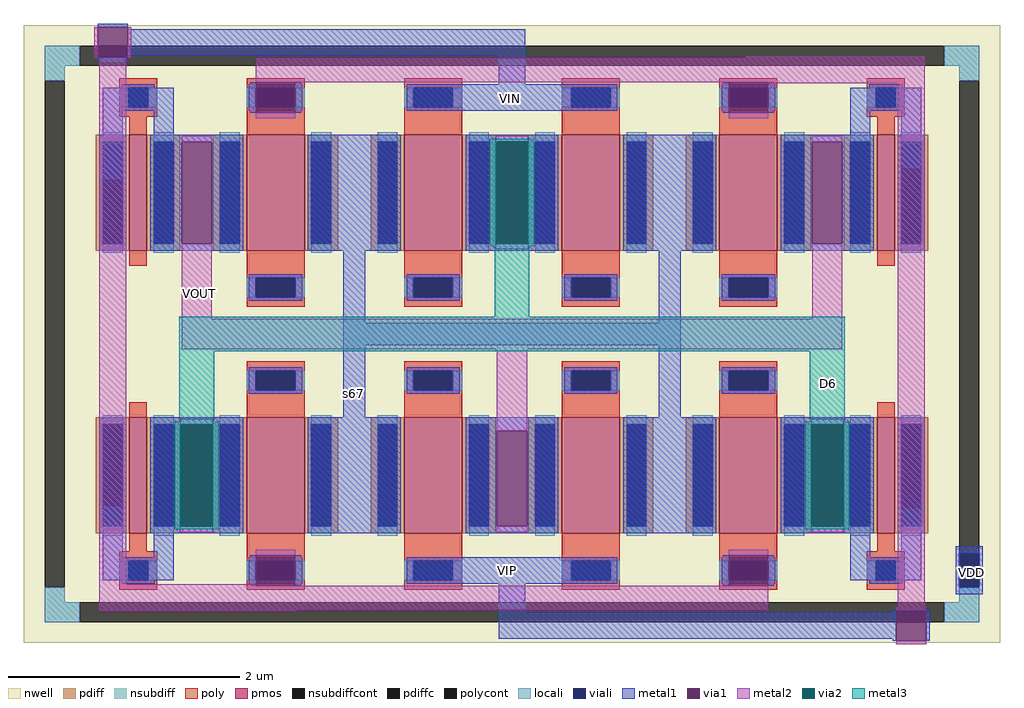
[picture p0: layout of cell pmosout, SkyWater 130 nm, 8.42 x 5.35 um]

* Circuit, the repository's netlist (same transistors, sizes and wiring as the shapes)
** sch_path: /home/nsptrq/opamp/mag/pmosout.sch
.subckt pmosout s67 vin vip D6 vdd vout
*.PININFO vin:I vip:I vdd:B vout:B s67:B D6:B
XM6 D6 vin s67 vdd sky130_fd_pr__pfet_01v8 L=0.5 W=1 nf=1 m=4
XM7 vout vip s67 vdd sky130_fd_pr__pfet_01v8 L=0.5 W=1 nf=1 m=4
XM1 D6 D6 D6 vdd sky130_fd_pr__pfet_01v8 L=0.15 W=1 nf=1 m=2
XM2 vout vout vout vdd sky130_fd_pr__pfet_01v8 L=0.15 W=1 nf=1 m=2
.ends
.end

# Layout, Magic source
magic
tech sky130A
magscale 1 2
<< nwell >>
rect -290 -89 1394 977
<< nsubdiff >>
rect -254 907 -194 941
rect 1298 907 1358 941
rect -254 881 -220 907
rect -254 -19 -220 7
rect 1324 881 1358 907
rect 1324 -19 1358 7
rect -254 -53 -194 -19
rect 1298 -53 1358 -19
<< nsubdiffcont >>
rect -194 907 1298 941
rect -254 7 -220 881
rect 1324 7 1358 881
rect -194 -53 1298 -19
<< locali >>
rect -254 907 -194 941
rect 1298 907 1358 941
rect -254 881 -220 907
rect -254 -19 -220 7
rect 1324 881 1358 907
rect 1324 -19 1358 7
rect -254 -53 -194 -19
rect 1298 -53 1358 -19
<< viali >>
rect 1324 7 1358 66
<< metal1 >>
rect -163 973 -111 979
rect -111 924 575 970
rect -163 915 -111 921
rect -154 835 -32 869
rect -154 711 -120 835
rect -66 788 -32 835
rect 100 826 110 878
rect 178 826 188 878
rect 529 875 575 924
rect 370 829 734 875
rect 916 826 926 878
rect 994 826 1004 878
rect 1136 835 1258 869
rect 1136 788 1170 835
rect -72 776 88 788
rect -72 600 -18 776
rect 34 600 88 776
rect -72 588 88 600
rect 200 588 360 788
rect 472 776 632 788
rect 472 600 526 776
rect 578 600 632 776
rect 472 588 632 600
rect 744 588 904 788
rect 1016 776 1176 788
rect 1016 600 1070 776
rect 1122 600 1176 776
rect 1224 730 1258 835
rect 1016 588 1176 600
rect 261 463 299 588
rect 805 463 843 588
rect 261 425 843 463
rect 261 300 299 425
rect 805 300 843 425
rect -72 288 88 300
rect -154 53 -120 146
rect -72 112 -18 288
rect 34 112 88 288
rect -72 100 88 112
rect 200 100 360 300
rect 472 277 632 300
rect 472 112 526 277
rect 578 112 632 277
rect 472 100 632 112
rect 744 100 904 300
rect 1016 288 1176 300
rect 1016 112 1070 288
rect 1122 112 1176 288
rect 1016 100 1176 112
rect -66 53 -32 100
rect -154 19 -32 53
rect 100 10 110 62
rect 178 10 188 62
rect 370 13 734 59
rect 529 -36 575 13
rect 916 10 926 62
rect 994 10 1004 62
rect 1136 53 1170 100
rect 1224 53 1258 143
rect 1136 19 1258 53
rect 1318 66 1364 78
rect 1318 7 1324 66
rect 1358 7 1364 66
rect 1318 -5 1364 7
rect 1209 -36 1215 -33
rect 529 -82 1215 -36
rect 1209 -85 1215 -82
rect 1267 -85 1273 -33
<< via1 >>
rect -163 921 -111 973
rect 110 826 178 878
rect 926 826 994 878
rect -18 600 34 776
rect 526 600 578 776
rect 1070 600 1122 776
rect -18 112 34 288
rect 526 112 578 277
rect 1070 112 1122 288
rect 110 10 178 62
rect 926 10 994 62
rect 1215 -85 1267 -33
<< metal2 >>
rect -169 921 -163 973
rect -111 921 -105 973
rect 955 921 1264 923
rect -160 12 -114 921
rect 110 878 1264 921
rect 110 816 178 826
rect 994 877 1264 878
rect 926 816 994 826
rect -18 776 34 786
rect -18 470 34 600
rect 524 776 580 786
rect 524 590 580 600
rect 1070 776 1122 786
rect 1070 470 1122 600
rect -18 418 1122 470
rect -20 288 36 298
rect -20 102 36 112
rect 526 277 578 418
rect 526 102 578 112
rect 1068 288 1124 298
rect 1068 102 1124 112
rect 110 62 178 72
rect -160 10 110 12
rect 926 62 994 72
rect -160 -33 994 10
rect 1218 -27 1264 877
rect 1215 -33 1267 -27
rect -160 -34 178 -33
rect 1215 -91 1267 -85
<< via2 >>
rect 524 600 526 776
rect 526 600 578 776
rect 578 600 580 776
rect -20 112 -18 288
rect -18 112 34 288
rect 34 112 36 288
rect 1068 112 1070 288
rect 1070 112 1122 288
rect 1122 112 1124 288
<< metal3 >>
rect 514 776 590 781
rect 514 600 524 776
rect 580 600 590 776
rect 514 595 590 600
rect 522 474 582 595
rect -22 414 1126 474
rect -22 293 38 414
rect 1066 293 1126 414
rect -30 288 46 293
rect -30 112 -20 288
rect 36 112 46 288
rect -30 107 46 112
rect 1058 288 1134 293
rect 1058 112 1068 288
rect 1124 112 1134 288
rect 1058 107 1134 112
use sky130_fd_pr__pfet_01v8_BH5GQ5  sky130_fd_pr__pfet_01v8_BH5GQ5_0
transform 1 0 552 0 1 688
box -552 -200 552 200
use sky130_fd_pr__pfet_01v8_BH5GQ5  sky130_fd_pr__pfet_01v8_BH5GQ5_1
transform 1 0 552 0 1 200
box -552 -200 552 200
use sky130_fd_pr__pfet_01v8_LA8JHL  sky130_fd_pr__pfet_01v8_LA8JHL_0
transform 1 0 -93 0 1 164
box -109 -164 109 198
use sky130_fd_pr__pfet_01v8_LA8JHL  sky130_fd_pr__pfet_01v8_LA8JHL_1
transform 1 0 1197 0 1 164
box -109 -164 109 198
use sky130_fd_pr__pfet_01v8_MA8JHN  sky130_fd_pr__pfet_01v8_MA8JHN_0
transform 1 0 -93 0 1 724
box -109 -198 109 164
use sky130_fd_pr__pfet_01v8_MA8JHN  sky130_fd_pr__pfet_01v8_MA8JHN_1
transform 1 0 1197 0 1 724
box -109 -198 109 164
<< labels >>
flabel metal2 13 514 13 514 0 FreeSans 1600 0 0 0 VOUT
port 0 nsew
flabel viali 1345 33 1345 33 0 FreeSans 1600 0 0 0 VDD
port 1 nsew
flabel metal1 545 36 545 36 0 FreeSans 1600 0 0 0 VIP
port 2 nsew
flabel metal1 549 850 549 850 0 FreeSans 1600 0 0 0 VIN
port 3 nsew
flabel metal3 1098 358 1098 358 0 FreeSans 1600 0 0 0 D6
port 4 nsew
flabel metal1 279 341 279 341 0 FreeSans 1600 0 0 0 s67
port 5 nsew
<< end >>

# cell sky130_fd_pr__pfet_01v8_BH5GQ5: kit device sky130_fd_pr__pfet_01v8, w 1 l 0.5 m 1 nf 4 diffcov 100 polycov 100 guard 0 glc 1 grc 1 gtc 1 gbc 1 tbcov 100 rlcov 100 topc 1 botc 1 poverlap 0 doverlap 0 lmin 0.15 wmin 0.42 compatible {sky130_fd_pr__pfet_01v8 sky130_fd_pr__pfet_01v8_lvt sky130_fd_pr__pfet_01v8_hvt sky130_fd_pr__pfet_g5v0d10v5} full_metal 1 viasrc 100 viadrn 100 viagate 100 viagb 0 viagr 0 viagl 0 viagt 0

# cell sky130_fd_pr__pfet_01v8_LA8JHL: kit device sky130_fd_pr__pfet_01v8, w 1 l 0.15 m 1 nf 1 diffcov 100 polycov 100 guard 0 glc 1 grc 1 gtc 1 gbc 1 tbcov 100 rlcov 100 topc 0 botc 1 poverlap 0 doverlap 1 lmin 0.15 wmin 0.42 compatible {sky130_fd_pr__pfet_01v8 sky130_fd_pr__pfet_01v8_lvt sky130_fd_pr__pfet_01v8_hvt sky130_fd_pr__pfet_g5v0d10v5} full_metal 1 viasrc 100 viadrn 100 viagate 100 viagb 0 viagr 0 viagl 0 viagt 0

# cell sky130_fd_pr__pfet_01v8_MA8JHN: kit device sky130_fd_pr__pfet_01v8, w 1 l 0.15 m 1 nf 1 diffcov 100 polycov 100 guard 0 glc 1 grc 1 gtc 1 gbc 1 tbcov 100 rlcov 100 topc 1 botc 0 poverlap 0 doverlap 1 lmin 0.15 wmin 0.42 compatible {sky130_fd_pr__pfet_01v8 sky130_fd_pr__pfet_01v8_lvt sky130_fd_pr__pfet_01v8_hvt sky130_fd_pr__pfet_g5v0d10v5} full_metal 1 viasrc 100 viadrn 100 viagate 100 viagb 0 viagr 0 viagl 0 viagt 0
